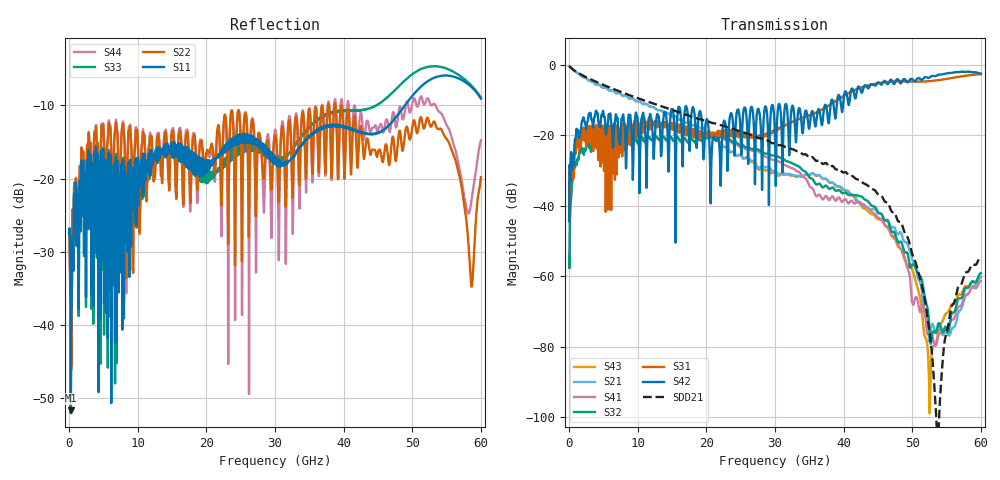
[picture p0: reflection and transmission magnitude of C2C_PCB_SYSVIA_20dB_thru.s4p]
!$Gore$
!C2C PCB Topology at Nominal
!Tuned Ballou BGA and Tuned Mayfield BOR
!Created with Channel Assembly Tool v1.0.4
# Hz S RI R 50
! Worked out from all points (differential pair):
!   6000 points, 10 MHz to 60 GHz, reference 50 ohm
!   strongest paths, dB at 10 MHz, 15.01 GHz, 30.01 GHz, 45.01 GHz, 60 GHz:
!     S42: -44.4, -12.6, -20.7, -5.0, -2.5
!     S31: -44.4, -18.2, -18.3, -5.2, -2.7
!     S32: -54.7, -20.9, -25.7, -41.8, -59.2
!     S41: -54.7, -21.2, -27.0, -43.3, -61.4
!     S21: -0.4, -14.7, -30.1, -42.2, -60.2
!     S43: -0.4, -14.7, -30.7, -43.9, -60.3
!   taken as a pair (ports 1,3 in; 2,4 out), SDD21 dB: -0.4, -12.8, -22.2, -36.8, -54.4
!   lowest |S11| = -51.6 dB at 260 MHz (marker M1), VSWR 1.01, Z = 49.7 + j0.0628 ohm
!   |S11| at or under -10 dB: start of sweep to 48.94 GHz
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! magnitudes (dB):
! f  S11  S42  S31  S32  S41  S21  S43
! 10 MHz  -27.4  -44.4  -44.4  -54.7  -54.7  -0.4  -0.4
! 260 MHz  -51.6  -26.4  -26.8  -38.6  -38.6  -0.8  -0.8
! 2.77 GHz  -21.9  -15.3  -21.4  -22.0  -22.1  -4.2  -4.2
! 22.2 GHz  -16.5  -25.6  -19.9  -20.3  -20.5  -22.4  -22.4
! 45.54 GHz  -13.5  -5.6  -5.1  -42.5  -43.9  -42.4  -44.1
! 52.48 GHz  -6.6  -3.7  -4.7  -73.9  -75.6  -78.6  -92.5
! 60 GHz  -9.1  -2.5  -2.7  -59.2  -61.4  -60.2  -60.3
